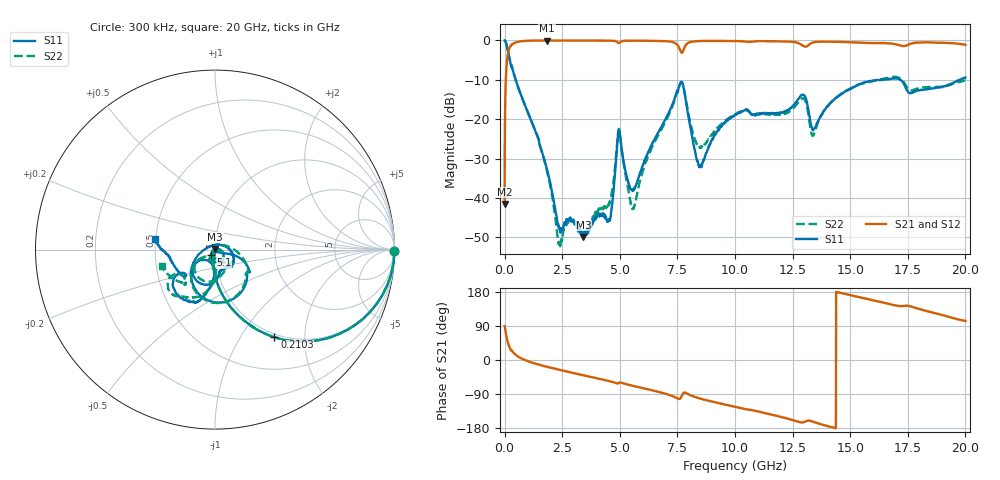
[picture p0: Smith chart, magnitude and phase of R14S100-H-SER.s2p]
!{R14S100}
!Johanson Technology Inc.
!www.johansontechnology.com
!Test Board Conditions:
!Substrate Type  RO4350B
!Substrate Thickness  20 mil
!Substrate Dk  3.66
!TL Type: GCPW
!TL Trace Width  36 mil
!TL Gap  12 mil
!Electrode orientation  Horizontal
!DUT TOPOLOGY	SERIES
!Mounting Pad LxW  26x36 mil
! Created Wed Nov 25 17:33:21 2020
! 2 Port Network Data from SP1.SP block
! freq  magS11  angS11  magS21  angS21  magS12  angS12  magS22  angS22
# khz S ma R 50
! decimated to every 10th point (10 MHz spacing) of the original 1 MHz Johanson file; values unchanged
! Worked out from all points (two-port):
!   2001 points, 300 kHz to 20 GHz, reference 50 ohm
!   highest |S21| = -0.02 dB at 1.84 GHz (marker M1); lowest = -41.5 dB at 300 kHz (marker M2)
!   |S21| within 3 dB of the highest: 156.2 MHz to 7.664 GHz (7.508 GHz wide, 192 % of centre); 7.718 GHz to end of sweep
!   lowest |S11| = -49.9 dB at 3.42 GHz (marker M3), VSWR 1.01, Z = 50 + j0.317 ohm
!   |S11| at or under -10 dB: 480.2 MHz to 16.35 GHz (15.87 GHz wide, 189 % of centre); 16.35576 GHz to 16.42873 GHz (72.97 MHz wide, 0.445 % of centre); 17.17 GHz to 19.77 GHz (2.595 GHz wide, 14 % of centre)
!   |S22| runs from -52.3 to 0.0 dB; largest |S21 - S12| = 0.019
!   S11 on the Smith chart (normalised r, x): 300 kHz: open; 210.3 MHz: 0.95, -1.42; 5.1 GHz: 0.95, -0.06; 20 GHz: 0.50, +0.07
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300  1 -0.4  0.008374 89.6  0.008358 89.3  0.9998 -0.4
110300  0.814 -36.6  0.5774 53.3  0.5786 53.2  0.8142 -36.5
210300  0.5897 -55.9  0.8031 33.9  0.8044 33.8  0.5907 -55.8
630300  0.234 -82.2  0.9693 7.3  0.9697 7.3  0.2341 -82.5
1840300  0.02306 -97.9  0.9977 -18.0  0.998 -18.0  0.02208 -113.8
2380300  0.004052 -31.5  0.9975 -26.0  0.9969 -26.0  0.002517 152.8
2820300  0.005507 34.1  0.9967 -32.1  0.9966 -32.1  0.00522 70.3
3340300  0.003791 67.4  0.9968 -39.3  0.9959 -39.2  0.003561 14.7
3420300  0.003199 81.6  0.9965 -40.3  0.9961 -40.3  0.003517 5.7
4530300  0.005309 91.3  0.9919 -55.5  0.9931 -55.5  0.008285 -37.7
4930300  0.06604 -48.4  0.9291 -61.5  0.928 -61.5  0.0697 -47.7
5100300  0.03796 -129.4  0.9808 -60.6  0.9814 -60.7  0.03732 -128.3
5590300  0.01262 -83.5  0.993 -68.4  0.9935 -68.4  0.007395 129.7
6670300  0.06772 -19.0  0.9884 -83.9  0.9878 -83.9  0.06273 21.1
7660300  0.2965 -75.8  0.7089 -98.3  0.7095 -98.3  0.2974 -78.9
8470300  0.02518 104.3  0.982 -101.4  0.9825 -101.4  0.04309 -112.5
1.00003e7  0.1128 -23.2  0.9814 -123.4  0.9806 -123.5  0.1149 -46.0
1.29403e7  0.2055 -111.3  0.8602 -164.6  0.8614 -164.6  0.1848 -111.1
1.33403e7  0.07659 -129.7  0.9335 -162.0  0.9333 -161.9  0.06343 -127.1
1.45903e7  0.2056 -97.0  0.9567 176.9  0.9567 176.8  0.2082 -96.7
1.66703e7  0.3195 -117.3  0.92 148.1  0.9126 147.8  0.3384 -130.5
2e7  0.338 169.9  0.8779 103.2  0.8756 103.4  0.3082 -162.3
